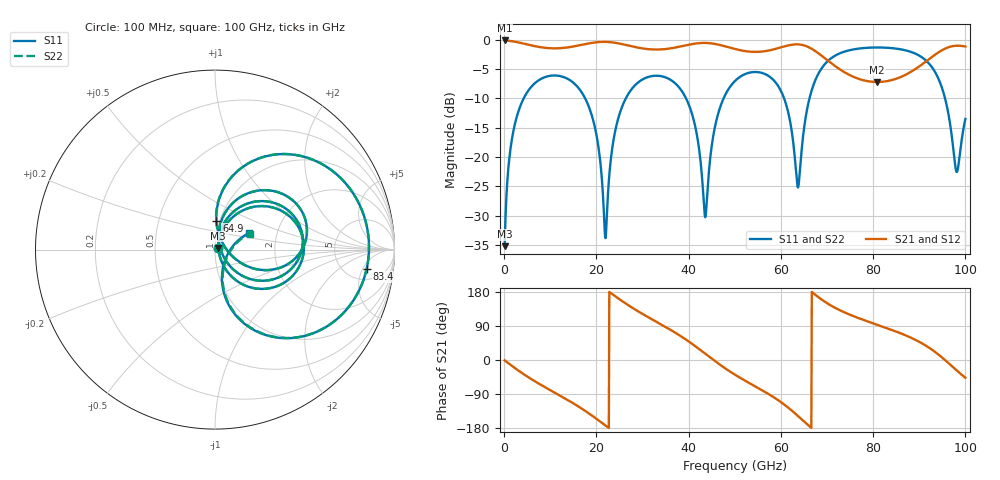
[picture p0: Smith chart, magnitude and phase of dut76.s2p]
! Touchstone file exported from HFSS 2026.1.0
!  File:  C:/ffzhzh/LocalFiles/Ansys_Project_Files/temp_train_TSV_RDL_76_1783628159_29156.aedt
!  Generated:  04:23:37 AM Jul 10, 2026
!  Design:  TSV_RDL
!  Project:  temp_train_TSV_RDL_76_1783628159_29156
! Variables:
!  h_bsmrdl = 2.34um
!  h_ox = 20um
!  h_rdl = 5um
!  h_sub = 74.14um
!  h_tmrdl = 3.98um
!  h_tsv = 74.14um
!  h_via = 3um
!  l_bsmrdl = 174.1um
!  l_sub = 2592.07um
!  l_tmrdl = 389.07um
!  m_sub = 200um
!  pitch = 40.11um
!  r_tsv = 6.06um
!  s_tmrdl = 10um
!  w_bsmrdl = 22.21um
!  w_sub = 500um
!  w_tmrdl = 15.62um
!  x_tsv_center1 = 396.88um
!  x_tsv_center2 = 593.19um
!  x_tsv_center3 = 997.88um
!  x_tsv_center4 = 1194.19um
!  x_tsv_center5 = 1598.88um
!  x_tsv_center6 = 1795.19um
# GHz S MA R 50.000000
! Terminal data exported
! Port[1] = TM_RDL1_1_T1
! Port[2] = TM_RDL5_1_T1
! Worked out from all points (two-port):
!   1000 points, 100 MHz to 100 GHz, reference 50 ohm
!   highest |S21| = -0.13 dB at 100 MHz (marker M1); lowest = -7.2 dB at 80.9 GHz (marker M2)
!   |S21| within 3 dB of the highest: start of sweep to 69.48 GHz; 92.43 GHz to end of sweep
!   lowest |S11| = -35.2 dB at 100 MHz (marker M3), VSWR 1.04, Z = 51.5 + j0.925 ohm
!   |S11| at or under -10 dB: 17.56 GHz to 26.38 GHz (8.819 GHz wide, 40.1 % of centre); 39.43 GHz to 47.58 GHz (8.141 GHz wide, 18.7 % of centre); 60.69 GHz to 66.2 GHz (5.502 GHz wide, 8.67 % of centre) (the widest 3 of 5)
!   |S22| runs from -35.2 to -1.3 dB; largest |S21 - S12| = 5e-13
!   S11 on the Smith chart (normalised r, x): 100 MHz: 1.03, +0.02; 64.9 GHz: 0.96, +0.32; 83.4 GHz: 7.70, -6.04; 100 GHz: 1.44, +0.28
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0.1  0.0174 31.1  0.9852 -1.0  0.9852 -1.0  0.0174 31.1
! Gamma 0 0 0 0
! Port Impedance 50 0 50 0
1.7  0.1434 66.8  0.9709 -15.7  0.9709 -15.7  0.1434 66.8
4.6  0.3363 45.8  0.9192 -40.4  0.9192 -40.4  0.3362 45.8
16.8  0.3563 -37.8  0.904 -128.2  0.904 -128.2  0.3563 -37.8
19.9  0.1627 -59.3  0.9495 -154.2  0.9495 -154.2  0.1627 -59.4
22  0.02036 14.9  0.9581 -173.1  0.9581 -173.1  0.02021 15.0
25.4  0.2577 61.6  0.9202 157.0  0.9202 157.0  0.2577 61.6
33.4  0.4926 7.3  0.8247 98.2  0.8247 98.2  0.4925 7.3
40.2  0.269 -38.5  0.9091 47.3  0.9091 47.3  0.2689 -38.6
43.6  0.0307 15.8  0.9386 16.6  0.9386 16.6  0.03067 15.8
46.1  0.2117 74.7  0.9139 -6.3  0.9139 -6.3  0.2118 74.7
50.1  0.4471 47.6  0.8323 -39.2  0.8323 -39.2  0.4471 47.5
59.5  0.3975 -13.2  0.8489 -106.8  0.8489 -106.8  0.3972 -13.3
63.6  0.05633 18.4  0.9128 -146.6  0.9128 -146.6  0.05487 18.2
64.9  0.1615 87.1  0.897 -160.9  0.897 -160.9  0.1611 87.7
66.7  0.3729 80.0  0.8354 179.7  0.8354 179.7  0.3728 80.2
71.4  0.717 46.1  0.6102 140.0  0.6102 140.0  0.717 46.2
80.9  0.8584 2.6  0.4361 93.0  0.4361 93.0  0.8584 2.7
83.4  0.8517 -7.3  0.4465 82.3  0.4465 82.3  0.8517 -7.2
92.4  0.6074 -54.0  0.6959 30.2  0.6959 30.2  0.6076 -53.8
98  0.07609 -36.3  0.888 -26.3  0.888 -26.3  0.08026 -35.7
100  0.2113 25.9  0.8749 -47.0  0.8749 -47.0  0.2127 24.7
